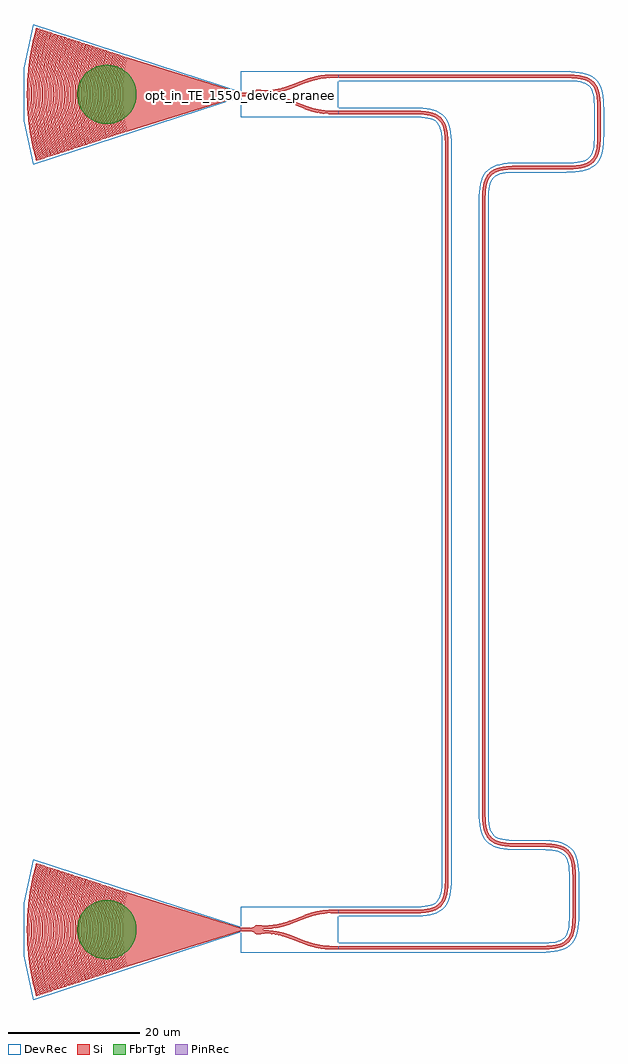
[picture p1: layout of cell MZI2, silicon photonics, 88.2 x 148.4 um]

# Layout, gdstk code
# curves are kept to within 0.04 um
import gdstk
lib = gdstk.Library(unit=1e-6, precision=1e-09)
def R(c, l, rs):  # rectangles x0, y0, x1, y1
    for r in rs: c.add(gdstk.rectangle(r[:2], r[2:], *l))
def P(c, l, *ps):  # polygons
    for p in ps: c.add(gdstk.Polygon(p, *l))
Si = (1, 0)
PinRec = (1, 10)
DevRec = (68, 0)
FbrTgt = (81, 0)

te1550_subgc_neg31_oxide = lib.new_cell('TE1550_SubGC_neg31_oxide')
P(te1550_subgc_neg31_oxide, Si, [(-17.556,-5.704),(-17.743,-4.914),(-17.881,-4.233),(-18.016,-3.437),(-18.095,-2.866),(-18.165,-2.237),(-18.222,-1.549),(-18.256,-0.918),(-18.274,-0.115),(-18.264,0.689),(-18.233,1.377),(-18.176,2.122),(-18.095,2.866),(-18.016,3.437),(-17.881,4.233),(-17.743,4.914),(-17.556,5.704),(-17.481,5.68),(-17.643,5.006),(-17.784,4.329),(-17.922,3.536),(-18.032,2.74),(-18.104,2.056),(-18.148,1.486),(-18.186,0.686),(-18.196,0.114),(-18.189,-0.572),(-18.165,-1.2),(-18.123,-1.828),(-18.058,-2.512),(-17.948,-3.365),(-17.826,-4.102),(-17.668,-4.893),(-17.481,-5.68)],
  [(-17.906,-5.818),(-18.207,-4.492),(-18.452,-2.982),(-18.601,-1.405),(-18.643,-0.117),(-18.601,1.405),(-18.452,2.982),(-18.207,4.492),(-17.906,5.818),(-17.659,5.738),(-17.932,4.544),(-18.188,2.998),(-18.338,1.443),(-18.383,0.116),(-18.338,-1.443),(-18.188,-2.998),(-17.932,-4.544),(-17.659,-5.738)],
  [(-18.084,-5.876),(-18.24,-5.237),(-18.4,-4.479),(-18.525,-3.776),(-18.629,-3.071),(-18.717,-2.305),(-18.772,-1.656),(-18.811,-0.946),(-18.83,-0.118),(-18.823,0.592),(-18.791,1.36),(-18.739,2.069),(-18.644,2.953),(-18.544,3.658),(-18.4,4.479),(-18.24,5.237),(-18.084,5.876),(-18.01,5.852),(-18.204,5.041),(-18.368,4.227),(-18.503,3.409),(-18.609,2.589),(-18.713,1.354),(-18.745,0.589),(-18.752,0.118),(-18.745,-0.589),(-18.713,-1.354),(-18.609,-2.589),(-18.503,-3.409),(-18.368,-4.227),(-18.204,-5.041),(-18.01,-5.852)],
  [(-18.435,-5.99),(-18.77,-4.506),(-19.001,-3.071),(-19.135,-1.748),(-19.199,-0.121),(-19.159,1.387),(-19.001,3.071),(-18.77,4.506),(-18.435,5.99),(-18.188,5.91),(-18.517,4.445),(-18.744,3.029),(-18.896,1.427),(-18.939,0.119),(-18.896,-1.427),(-18.759,-2.911),(-18.517,-4.445),(-18.188,-5.91)],
  [(-18.613,-6.048),(-18.815,-5.211),(-18.963,-4.49),(-19.099,-3.705),(-19.201,-2.979),(-19.269,-2.373),(-19.338,-1.522),(-19.369,-0.913),(-19.386,-0.122),(-19.377,0.67),(-19.349,1.339),(-19.286,2.191),(-19.201,2.979),(-19.099,3.705),(-18.963,4.49),(-18.815,5.211),(-18.613,6.048),(-18.539,6.024),(-18.713,5.309),(-18.876,4.532),(-19.013,3.751),(-19.131,2.907),(-19.203,2.242),(-19.264,1.455),(-19.291,0.91),(-19.308,0.121),(-19.299,-0.667),(-19.271,-1.334),(-19.239,-1.819),(-19.166,-2.605),(-19.076,-3.329),(-18.91,-4.352),(-18.753,-5.13),(-18.539,-6.024)],
  [(-18.964,-6.162),(-19.262,-4.881),(-19.533,-3.283),(-19.689,-1.799),(-19.755,-0.124),(-19.717,1.365),(-19.573,2.974),(-19.334,4.513),(-18.964,6.162),(-18.717,6.081),(-19.046,4.636),(-19.301,3.057),(-19.43,1.775),(-19.495,0.122),(-19.454,-1.408),(-19.301,-3.057),(-19.046,-4.636),(-18.717,-6.081)],
  [(-19.142,-6.22),(-19.337,-5.421),(-19.48,-4.742),(-19.625,-3.936),(-19.726,-3.251),(-19.808,-2.566),(-19.884,-1.691),(-19.924,-0.94),(-19.942,-0.125),(-19.934,0.626),(-19.9,1.44),(-19.833,2.316),(-19.758,3.002),(-19.635,3.874),(-19.516,4.556),(-19.337,5.421),(-19.142,6.22),(-19.068,6.195),(-19.289,5.277),(-19.44,4.538),(-19.587,3.673),(-19.696,2.866),(-19.772,2.12),(-19.822,1.435),(-19.853,0.749),(-19.864,0.125),(-19.853,-0.749),(-19.822,-1.435),(-19.772,-2.12),(-19.696,-2.866),(-19.587,-3.673),(-19.44,-4.538),(-19.289,-5.277),(-19.068,-6.195)],
  [(-19.493,-6.334),(-19.839,-4.829),(-20.107,-3.185),(-20.256,-1.658),(-20.311,-0.128),(-20.268,1.467),(-20.107,3.185),(-19.839,4.829),(-19.493,6.334),(-19.246,6.253),(-19.574,4.829),(-19.842,3.207),(-19.997,1.637),(-20.051,0.126),(-20.005,-1.511),(-19.866,-3.019),(-19.622,-4.581),(-19.246,-6.253)],
  [(-19.671,-6.391),(-19.843,-5.697),(-20.008,-4.937),(-20.149,-4.173),(-20.283,-3.278),(-20.379,-2.444),(-20.438,-1.738),(-20.482,-0.901),(-20.498,-0.129),(-20.482,0.901),(-20.438,1.738),(-20.379,2.444),(-20.283,3.278),(-20.149,4.173),(-20.008,4.937),(-19.843,5.697),(-19.671,6.391),(-19.597,6.367),(-19.797,5.55),(-20.005,4.538),(-20.153,3.648),(-20.246,2.946),(-20.325,2.179),(-20.373,1.539),(-20.404,0.898),(-20.42,0.128),(-20.412,-0.641),(-20.384,-1.347),(-20.336,-2.051),(-20.261,-2.819),(-20.153,-3.648),(-20.017,-4.474),(-19.825,-5.424),(-19.597,-6.367)],
  [(-20.022,-6.505),(-20.392,-4.896),(-20.656,-3.272),(-20.81,-1.704),(-20.867,-0.131),(-20.81,1.704),(-20.656,3.272),(-20.392,4.896),(-20.022,6.505),(-19.774,6.425),(-20.139,4.835),(-20.382,3.36),(-20.542,1.812),(-20.607,0.129),(-20.567,-1.424),(-20.399,-3.231),(-20.139,-4.835),(-19.774,-6.425)],
  [(-20.199,-6.563),(-20.437,-5.591),(-20.599,-4.809),(-20.726,-4.089),(-20.832,-3.367),(-20.931,-2.511),(-20.992,-1.785),(-21.04,-0.86),(-21.054,-0.132),(-21.044,0.728),(-21.001,1.653),(-20.931,2.511),(-20.849,3.235),(-20.726,4.089),(-20.599,4.809),(-20.437,5.591),(-20.199,6.563),(-20.125,6.539),(-20.347,5.635),(-20.523,4.791),(-20.67,3.943),(-20.804,2.961),(-20.878,2.239),(-20.923,1.647),(-20.962,0.857),(-20.976,0.132),(-20.966,-0.725),(-20.935,-1.449),(-20.878,-2.239),(-20.804,-2.961),(-20.67,-3.943),(-20.523,-4.791),(-20.347,-5.635),(-20.125,-6.539)],
  [(-20.55,-6.677),(-20.906,-5.158),(-21.205,-3.359),(-21.355,-1.883),(-21.423,-0.135),(-21.373,1.615),(-21.205,3.359),(-20.906,5.158),(-20.55,6.677),(-20.303,6.597),(-20.705,4.833),(-20.957,3.252),(-21.105,1.728),(-21.163,0.133),(-21.105,-1.728),(-20.957,-3.252),(-20.705,-4.833),(-20.303,-6.597)],
  [(-20.728,-6.735),(-20.912,-6.004),(-21.101,-5.136),(-21.249,-4.331),(-21.372,-3.523),(-21.483,-2.577),(-21.546,-1.832),(-21.593,-0.95),(-21.61,-0.136),(-21.593,0.95),(-21.555,1.696),(-21.483,2.577),(-21.39,3.388),(-21.249,4.331),(-21.101,5.136),(-20.912,6.004),(-20.728,6.735),(-20.654,6.711),(-20.868,5.85),(-21.025,5.118),(-21.195,4.181),(-21.33,3.241),(-21.412,2.5),(-21.473,1.758),(-21.515,0.947),(-21.532,0.135),(-21.525,-0.609),(-21.497,-1.352),(-21.448,-2.095),(-21.37,-2.904),(-21.237,-3.913),(-21.077,-4.85),(-20.868,-5.85),(-20.654,-6.711)],
  [(-21.079,-6.849),(-21.432,-5.359),(-21.736,-3.583),(-21.923,-1.725),(-21.979,-0.138),(-21.923,1.725),(-21.772,3.308),(-21.473,5.155),(-21.079,6.849),(-20.832,6.769),(-21.207,5.162),(-21.47,3.608),(-21.664,1.705),(-21.719,0.136),(-21.664,-1.705),(-21.515,-3.269),(-21.207,-5.162),(-20.832,-6.769)],
  [(-21.257,-6.907),(-21.494,-5.953),(-21.655,-5.199),(-21.817,-4.304),(-21.93,-3.544),(-22.042,-2.574),(-22.105,-1.81),(-22.146,-1.044),(-22.166,-0.139),(-22.159,0.627),(-22.114,1.67),(-22.042,2.574),(-21.957,3.336),(-21.817,4.304),(-21.655,5.199),(-21.494,5.953),(-21.257,6.907),(-21.183,6.883),(-21.419,5.932),(-21.606,5.044),(-21.773,4.083),(-21.888,3.256),(-21.971,2.495),(-22.036,1.665),(-22.073,0.902),(-22.088,0.139),(-22.081,-0.624),(-22.052,-1.387),(-22.001,-2.149),(-21.905,-3.117),(-21.773,-4.083),(-21.606,-5.044),(-21.419,-5.932),(-21.183,-6.883)],
  [(-21.608,-7.021),(-21.985,-5.425),(-22.294,-3.603),(-22.482,-1.698),(-22.535,-0.142),(-22.482,1.698),(-22.294,3.603),(-21.985,5.425),(-21.608,7.021),(-21.361,6.941),(-21.761,5.224),(-22.028,3.631),(-22.218,1.749),(-22.275,0.14),(-22.227,-1.609),(-22.073,-3.283),(-21.788,-5.086),(-21.361,-6.941)],
  [(-21.786,-7.079),(-21.964,-6.381),(-22.167,-5.469),(-22.302,-4.765),(-22.469,-3.704),(-22.565,-2.923),(-22.649,-1.997),(-22.704,-0.999),(-22.722,-0.143),(-22.713,0.714),(-22.677,1.57),(-22.601,2.567),(-22.488,3.562),(-22.374,4.341),(-22.195,5.329),(-22.03,6.101),(-21.786,7.079),(-21.712,7.055),(-21.922,6.22),(-22.161,5.1),(-22.308,4.256),(-22.447,3.267),(-22.53,2.487),(-22.586,1.778),(-22.626,0.996),(-22.644,0.142),(-22.635,-0.711),(-22.595,-1.635),(-22.53,-2.487),(-22.447,-3.267),(-22.308,-4.256),(-22.161,-5.1),(-21.922,-6.22),(-21.712,-7.055)],
  [(-22.137,-7.193),(-22.54,-5.486),(-22.843,-3.692),(-23.011,-2.102),(-23.091,-0.145),(-23.045,1.595),(-22.862,3.547),(-22.54,5.486),(-22.137,7.193),(-21.89,7.112),(-22.287,5.425),(-22.596,3.579),(-22.777,1.721),(-22.831,0.143),(-22.777,-1.721),(-22.596,-3.579),(-22.287,-5.425),(-21.89,-7.112)],
  [(-22.315,-7.25),(-22.549,-6.321),(-22.736,-5.458),(-22.895,-4.592),(-23.047,-3.576),(-23.139,-2.776),(-23.218,-1.827),(-23.262,-0.951),(-23.278,-0.146),(-23.262,0.951),(-23.218,1.827),(-23.139,2.776),(-23.047,3.576),(-22.895,4.592),(-22.736,5.458),(-22.549,6.321),(-22.315,7.25),(-22.24,7.226),(-22.457,6.372),(-22.646,5.512),(-22.843,4.432),(-22.979,3.492),(-23.076,2.621),(-23.145,1.748),(-23.184,0.947),(-23.2,0.146),(-23.194,-0.583),(-23.158,-1.53),(-23.102,-2.33),(-23.006,-3.274),(-22.899,-4.071),(-22.73,-5.081),(-22.507,-6.157),(-22.24,-7.226)],
  [(-22.666,-7.364),(-23.095,-5.545),(-23.392,-3.78),(-23.581,-1.93),(-23.647,-0.149),(-23.586,1.856),(-23.421,3.559),(-23.095,5.545),(-22.666,7.364),(-22.418,7.284),(-22.842,5.484),(-23.145,3.666),(-23.311,2.056),(-23.387,0.147),(-23.336,-1.689),(-23.145,-3.666),(-22.842,-5.484),(-22.418,-7.284)],
  [(-22.843,-7.422),(-23.067,-6.545),(-23.262,-5.662),(-23.441,-4.701),(-23.556,-3.959),(-23.691,-2.842),(-23.762,-2.02),(-23.815,-1.048),(-23.834,-0.15),(-23.82,0.898),(-23.782,1.721),(-23.713,2.618),(-23.606,3.587),(-23.441,4.701),(-23.277,5.588),(-23.067,6.545),(-22.843,7.422),(-22.769,7.398),(-22.992,6.523),(-23.201,5.57),(-23.389,4.538),(-23.538,3.501),(-23.642,2.535),(-23.704,1.716),(-23.742,0.895),(-23.756,0.149),(-23.742,-0.895),(-23.704,-1.716),(-23.642,-2.535),(-23.565,-3.278),(-23.401,-4.464),(-23.23,-5.423),(-22.992,-6.523),(-22.769,-7.398)],
  [(-23.194,-7.536),(-23.605,-5.824),(-23.951,-3.793),(-24.135,-1.976),(-24.203,-0.152),(-24.15,1.748),(-23.961,3.718),(-23.605,5.824),(-23.194,7.536),(-22.947,7.456),(-23.368,5.688),(-23.684,3.827),(-23.876,1.955),(-23.943,0.15),(-23.886,-1.804),(-23.704,-3.678),(-23.383,-5.614),(-22.947,-7.456)],
  [(-23.372,-7.594),(-23.602,-6.696),(-23.802,-5.793),(-23.96,-4.962),(-24.115,-3.975),(-24.219,-3.137),(-24.316,-2.067),(-24.373,-0.996),(-24.39,-0.153),(-24.373,0.996),(-24.316,2.067),(-24.219,3.137),(-24.115,3.975),(-23.96,4.962),(-23.802,5.793),(-23.602,6.696),(-23.372,7.594),(-23.298,7.57),(-23.562,6.525),(-23.801,5.399),(-23.971,4.417),(-24.088,3.583),(-24.188,2.67),(-24.249,1.908),(-24.295,0.993),(-24.312,0.153),(-24.3,-0.84),(-24.263,-1.68),(-24.195,-2.594),(-24.088,-3.583),(-23.971,-4.417),(-23.801,-5.399),(-23.562,-6.525),(-23.298,-7.57)],
  [(-23.723,-7.708),(-24.145,-5.957),(-24.479,-4.035),(-24.678,-2.176),(-24.759,-0.156),(-24.709,1.71),(-24.5,3.88),(-24.145,5.957),(-23.723,7.708),(-23.476,7.628),(-23.908,5.819),(-24.233,3.916),(-24.43,2),(-24.499,0.154),(-24.43,-2),(-24.233,-3.916),(-23.908,-5.819),(-23.476,-7.628)],
  [(-23.901,-7.766),(-24.137,-6.848),(-24.358,-5.848),(-24.518,-4.997),(-24.674,-3.987),(-24.779,-3.13),(-24.87,-2.115),(-24.916,-1.332),(-24.946,-0.157),(-24.931,0.94),(-24.891,1.802),(-24.803,2.896),(-24.695,3.832),(-24.531,4.92),(-24.358,5.848),(-24.137,6.848),(-23.901,7.766),(-23.827,7.742),(-24.098,6.674),(-24.313,5.676),(-24.493,4.672),(-24.638,3.665),(-24.733,2.809),(-24.803,1.952),(-24.848,1.094),(-24.868,0.156),(-24.858,-0.781),(-24.818,-1.718),(-24.733,-2.809),(-24.638,-3.665),(-24.493,-4.672),(-24.313,-5.676),(-24.098,-6.674),(-23.827,-7.742)],
  [(-24.252,-7.88),(-24.717,-5.934),(-25.049,-3.967),(-25.232,-2.225),(-25.315,-0.159),(-25.259,1.828),(-25.07,3.809),(-24.717,5.934),(-24.252,7.88),(-24.005,7.8),(-24.464,5.873),(-24.782,4.005),(-24.973,2.202),(-25.055,0.157),(-25.009,-1.652),(-24.803,-3.848),(-24.464,-5.873),(-24.005,-7.8)],
  [(-24.43,-7.938),(-24.709,-6.843),(-24.866,-6.135),(-25.049,-5.187),(-25.234,-3.997),(-25.339,-3.12),(-25.424,-2.162),(-25.478,-1.202),(-25.502,-0.16),(-25.489,0.881),(-25.435,2.002),(-25.339,3.12),(-25.234,3.997),(-25.049,5.187),(-24.866,6.135),(-24.709,6.843),(-24.43,7.938),(-24.356,7.914),(-24.634,6.822),(-24.839,5.881),(-25,5.014),(-25.178,3.826),(-25.278,2.952),(-25.352,2.075),(-25.397,1.278),(-25.424,0.16),(-25.409,-0.958),(-25.377,-1.677),(-25.293,-2.792),(-25.198,-3.667),(-25.052,-4.697),(-24.839,-5.881),(-24.634,-6.822),(-24.356,-7.914)],
  [(-24.781,-8.052),(-25.241,-6.144),(-25.576,-4.216),(-25.803,-2.031),(-25.871,-0.163),(-25.803,2.031),(-25.609,3.974),(-25.274,5.984),(-24.781,8.052),(-24.533,7.971),(-24.972,6.161),(-25.308,4.253),(-25.544,2.01),(-25.611,0.161),(-25.544,-2.01),(-25.352,-3.934),(-25.021,-5.924),(-24.533,-7.971)],
  [(-24.959,-8.11),(-25.187,-7.232),(-25.423,-6.188),(-25.635,-5.057),(-25.772,-4.165),(-25.891,-3.188),(-25.984,-2.127),(-26.03,-1.31),(-26.058,-0.164),(-26.045,0.9),(-25.995,1.964),(-25.891,3.188),(-25.794,4.002),(-25.635,5.057),(-25.423,6.188),(-25.187,7.232),(-24.959,8.11),(-24.884,8.085),(-25.15,7.051),(-25.38,6.009),(-25.572,4.961),(-25.738,3.828),(-25.846,2.853),(-25.917,1.958),(-25.967,0.898),(-25.98,0.163),(-25.967,-0.898),(-25.932,-1.713),(-25.868,-2.609),(-25.768,-3.585),(-25.624,-4.638),(-25.412,-5.848),(-25.207,-6.811),(-24.884,-8.085)],
  [(-25.31,-8.224),(-25.815,-6.112),(-26.136,-4.224),(-26.357,-2.074),(-26.427,-0.166),(-26.368,1.909),(-26.18,3.894),(-25.815,6.112),(-25.31,8.224),(-25.062,8.143),(-25.512,6.295),(-25.868,4.264),(-26.098,2.054),(-26.167,0.164),(-26.123,-1.644),(-25.923,-3.856),(-25.562,-6.052),(-25.062,-8.143)],
  [(-25.487,-8.281),(-25.761,-7.222),(-25.946,-6.402),(-26.152,-5.33),(-26.321,-4.254),(-26.451,-3.173),(-26.532,-2.256),(-26.589,-1.254),(-26.614,-0.167),(-26.598,1.003),(-26.538,2.172),(-26.451,3.173),(-26.321,4.254),(-26.152,5.33),(-25.946,6.402),(-25.761,7.222),(-25.487,8.281),(-25.413,8.257),(-25.686,7.201),(-25.921,6.137),(-26.118,5.067),(-26.288,3.91),(-26.374,3.164),(-26.466,2.083),(-26.511,1.25),(-26.536,0.167),(-26.525,-0.834),(-26.482,-1.833),(-26.406,-2.831),(-26.288,-3.91),(-26.118,-5.067),(-25.921,-6.137),(-25.686,-7.201),(-25.413,-8.257)],
  [(-25.838,-8.395),(-26.339,-6.323),(-26.685,-4.312),(-26.887,-2.456),(-26.983,-0.17),(-26.917,2.033),(-26.708,4.144),(-26.356,6.24),(-25.838,8.395),(-25.591,8.315),(-26.086,6.263),(-26.44,4.188),(-26.658,2.014),(-26.723,0.168),(-26.658,-2.014),(-26.44,-4.188),(-26.086,-6.263),(-25.591,-8.315)],
  [(-26.016,-8.453),(-26.256,-7.539),(-26.503,-6.451),(-26.697,-5.441),(-26.858,-4.427),(-26.976,-3.494),(-27.086,-2.303),(-27.144,-1.28),(-27.17,-0.085),(-27.156,0.939),(-27.098,2.133),(-27.012,3.154),(-26.893,4.173),(-26.726,5.272),(-26.538,6.283),(-26.256,7.539),(-26.016,8.453),(-25.942,8.429),(-26.261,7.184),(-26.479,6.181),(-26.664,5.173),(-26.838,3.992),(-26.943,3.06),(-27.026,2.042),(-27.078,0.936),(-27.092,0.085),(-27.078,-0.936),(-27.026,-2.042),(-26.943,-3.06),(-26.838,-3.992),(-26.664,-5.173),(-26.479,-6.181),(-26.261,-7.184),(-25.942,-8.429)],
  [(-26.367,-8.567),(-26.897,-6.368),(-27.246,-4.315),(-27.466,-2.162),(-27.539,-0.087),(-27.466,2.162),(-27.246,4.315),(-26.897,6.368),(-26.367,8.567),(-26.12,8.487),(-26.644,6.308),(-26.989,4.275),(-27.218,1.97),(-27.279,0.086),(-27.218,-1.97),(-26.989,-4.275),(-26.644,-6.308),(-26.12,-8.487)],
  [(-26.545,-8.625),(-26.832,-7.522),(-27.079,-6.411),(-27.286,-5.294),(-27.442,-4.258),(-27.573,-3.132),(-27.658,-2.089),(-27.712,-0.958),(-27.726,-0.087),(-27.712,0.958),(-27.658,2.089),(-27.573,3.132),(-27.442,4.258),(-27.286,5.294),(-27.079,6.411),(-26.832,7.522),(-26.545,8.625),(-26.471,8.601),(-26.777,7.416),(-27.003,6.393),(-27.195,5.365),(-27.365,4.246),(-27.487,3.209),(-27.586,1.997),(-27.634,0.955),(-27.648,0.087),(-27.634,-0.955),(-27.586,-1.997),(-27.52,-2.863),(-27.42,-3.815),(-27.265,-4.935),(-27.071,-6.051),(-26.817,-7.246),(-26.63,-8.01),(-26.471,-8.601)],
  [(-26.896,-8.739),(-27.402,-6.67),(-27.783,-4.49),(-28.014,-2.293),(-28.095,-0.088),(-28.026,2.117),(-27.807,4.315),(-27.438,6.496),(-26.896,8.739),(-26.649,8.659),(-27.185,6.436),(-27.55,4.275),(-27.761,2.185),(-27.835,0.087),(-27.761,-2.185),(-27.55,-4.275),(-27.185,-6.436),(-26.649,-8.659)],
  [(-27.074,-8.797),(-27.346,-7.759),(-27.602,-6.627),(-27.802,-5.576),(-27.955,-4.608),(-28.098,-3.46),(-28.194,-2.397),(-28.255,-1.332),(-28.282,-0.089),(-28.265,1.066),(-28.218,2.042),(-28.134,3.106),(-28.015,4.167),(-27.832,5.4),(-27.62,6.539),(-27.346,7.759),(-27.074,8.797),(-27,8.773),(-27.292,7.651),(-27.544,6.521),(-27.77,5.297),(-27.949,4.067),(-28.048,3.186),(-28.129,2.214),(-28.184,1.152),(-28.204,0.089),(-28.187,-1.063),(-28.146,-1.948),(-28.073,-2.921),(-27.949,-4.067),(-27.77,-5.297),(-27.544,-6.521),(-27.292,-7.651),(-27,-8.773)],
  [(-27.425,-8.911),(-27.979,-6.624),(-28.344,-4.489),(-28.568,-2.339),(-28.651,-0.09),(-28.568,2.339),(-28.344,4.489),(-27.979,6.624),(-27.425,8.911),(-27.177,8.83),(-27.708,6.652),(-28.075,4.537),(-28.309,2.317),(-28.391,0.089),(-28.309,-2.317),(-28.075,-4.537),(-27.708,-6.652),(-27.177,-8.83)],
  [(-27.603,-8.969),(-27.881,-7.91),(-28.124,-6.845),(-28.347,-5.685),(-28.529,-4.518),(-28.678,-3.257),(-28.761,-2.264),(-28.814,-1.268),(-28.838,-0.091),(-28.826,0.906),(-28.761,2.264),(-28.678,3.257),(-28.529,4.518),(-28.347,5.685),(-28.124,6.845),(-27.881,7.91),(-27.603,8.969),(-27.528,8.944),(-27.806,7.889),(-28.085,6.649),(-28.316,5.402),(-28.476,4.327),(-28.582,3.428),(-28.677,2.348),(-28.736,1.265),(-28.76,0.09),(-28.748,-0.903),(-28.695,-2.077),(-28.609,-3.158),(-28.499,-4.147),(-28.331,-5.312),(-28.121,-6.472),(-27.87,-7.624),(-27.528,-8.944)],
  [(-27.953,-9.083),(-28.52,-6.752),(-28.893,-4.576),(-29.135,-2.201),(-29.207,-0.092),(-29.135,2.201),(-28.918,4.394),(-28.52,6.752),(-27.953,9.083),(-27.706,9.002),(-28.23,6.871),(-28.624,4.626),(-28.863,2.363),(-28.947,0.091),(-28.887,-2),(-28.649,-4.445),(-28.23,-6.871),(-27.706,-9.002)],
  [(-28.131,-9.14),(-28.416,-8.062),(-28.645,-7.068),(-28.86,-5.977),(-29.078,-4.605),(-29.221,-3.412),(-29.315,-2.307),(-29.373,-1.2),(-29.394,-0.092),(-29.373,1.2),(-29.315,2.307),(-29.221,3.412),(-29.078,4.605),(-28.86,5.977),(-28.645,7.068),(-28.416,8.062),(-28.131,9.14),(-28.057,9.116),(-28.363,7.951),(-28.663,6.596),(-28.892,5.323),(-29.061,4.136),(-29.179,3.036),(-29.255,2.025),(-29.301,1.013),(-29.316,0.092),(-29.301,-1.013),(-29.255,-2.025),(-29.179,-3.036),(-29.061,-4.136),(-28.892,-5.323),(-28.663,-6.596),(-28.363,-7.951),(-28.057,-9.116)],
  [(-28.482,-9.254),(-29.003,-7.156),(-29.416,-4.849),(-29.683,-2.336),(-29.763,-0.094),(-29.683,2.336),(-29.455,4.57),(-29.042,6.972),(-28.482,9.254),(-28.235,9.174),(-28.77,7.003),(-29.173,4.714),(-29.424,2.316),(-29.503,0.093),(-29.424,-2.316),(-29.173,-4.714),(-28.77,-7.003),(-28.235,-9.174)],
  [(-28.66,-9.312),(-28.928,-8.306),(-29.224,-7.016),(-29.421,-5.996),(-29.601,-4.879),(-29.733,-3.851),(-29.863,-2.445),(-29.925,-1.317),(-29.95,-0.094),(-29.937,0.941),(-29.882,2.163),(-29.792,3.289),(-29.64,4.599),(-29.437,5.904),(-29.224,7.016),(-28.928,8.306),(-28.66,9.312),(-28.586,9.288),(-28.898,8.101),(-29.148,6.998),(-29.393,5.703),(-29.563,4.587),(-29.696,3.467),(-29.798,2.251),(-29.847,1.314),(-29.872,0.094),(-29.862,-0.845),(-29.798,-2.251),(-29.696,-3.467),(-29.563,-4.587),(-29.393,-5.703),(-29.148,-6.998),(-28.898,-8.101),(-28.586,-9.288)],
  [(-29.011,-9.426),(-29.563,-7.196),(-29.965,-4.939),(-30.237,-2.38),(-30.319,-0.095),(-30.25,2.19),(-30.017,4.561),(-29.602,7.008),(-29.011,9.426),(-28.764,9.346),(-29.33,7.041),(-29.735,4.709),(-29.978,2.359),(-30.059,0.094),(-29.978,-2.359),(-29.735,-4.709),(-29.33,-7.041),(-28.764,-9.346)],
  [(-29.189,-9.484),(-29.554,-8.085),(-29.784,-7.052),(-29.999,-5.918),(-30.163,-4.874),(-30.295,-3.827),(-30.417,-2.49),(-30.484,-1.246),(-30.506,-0.096),(-30.484,1.246),(-30.417,2.49),(-30.295,3.827),(-30.163,4.874),(-29.999,5.918),(-29.784,7.052),(-29.554,8.085),(-29.189,9.484),(-29.115,9.46),(-29.456,8.158),(-29.708,7.034),(-29.97,5.62),(-30.125,4.577),(-30.248,3.532),(-30.346,2.388),(-30.406,1.242),(-30.428,0.096),(-30.406,-1.242),(-30.346,-2.388),(-30.248,-3.532),(-30.125,-4.577),(-29.97,-5.62),(-29.708,-7.034),(-29.456,-8.158),(-29.115,-9.46)],
  [(-29.54,-9.598),(-30.143,-7.137),(-30.554,-4.741),(-30.798,-2.327),(-30.875,-0.097),(-30.798,2.327),(-30.554,4.741),(-30.143,7.137),(-29.54,9.598),(-29.293,9.518),(-29.89,7.077),(-30.284,4.796),(-30.539,2.307),(-30.615,0.096),(-30.539,-2.307),(-30.284,-4.796),(-29.89,-7.077),(-29.293,-9.518)],
  [(-29.718,-9.656),(-29.997,-8.613),(-30.285,-7.371),(-30.493,-6.315),(-30.712,-4.963),(-30.857,-3.8),(-30.964,-2.633),(-31.036,-1.366),(-31.062,-0.098),(-31.046,1.073),(-30.991,2.243),(-30.897,3.411),(-30.752,4.673),(-30.561,5.929),(-30.345,7.084),(-30.044,8.422),(-29.718,9.656),(-29.643,9.632),(-29.969,8.401),(-30.269,7.066),(-30.501,5.818),(-30.7,4.468),(-30.829,3.306),(-30.907,2.335),(-30.965,1.168),(-30.984,0.097),(-30.965,-1.168),(-30.907,-2.335),(-30.829,-3.306),(-30.7,-4.468),(-30.501,-5.818),(-30.269,-7.066),(-29.969,-8.401),(-29.643,-9.632)],
  [(-30.069,-9.77),(-30.664,-7.362),(-31.09,-4.924),(-31.346,-2.467),(-31.431,-0.099),(-31.346,2.467),(-31.09,4.924),(-30.664,7.362),(-30.069,9.77),(-29.821,9.69),(-30.411,7.301),(-30.833,4.883),(-31.093,2.349),(-31.171,0.098),(-31.093,-2.349),(-30.833,-4.883),(-30.411,-7.301),(-29.821,-9.69)],
  [(-30.246,-9.828),(-30.603,-8.475),(-30.866,-7.308),(-31.107,-6.035),(-31.288,-4.855),(-31.43,-3.67),(-31.539,-2.382),(-31.595,-1.291),(-31.618,-0.099),(-31.595,1.291),(-31.539,2.382),(-31.43,3.67),(-31.288,4.855),(-31.107,6.035),(-30.866,7.308),(-30.603,8.475),(-30.246,9.828),(-30.172,9.804),(-30.528,8.455),(-30.77,7.387),(-30.907,6.705),(-31.047,5.922),(-31.211,4.843),(-31.342,3.759),(-31.461,2.377),(-31.517,1.288),(-31.54,0.099),(-31.529,-0.892),(-31.474,-2.179),(-31.391,-3.266),(-31.25,-4.548),(-31.047,-5.922),(-30.83,-7.095),(-30.528,-8.455),(-30.172,-9.804)],
  [(-30.597,-9.942),(-31.225,-7.393),(-31.625,-5.111),(-31.893,-2.611),(-31.987,-0.1),(-31.907,2.41),(-31.653,4.911),(-31.225,7.393),(-30.597,9.942),(-30.35,9.861),(-30.931,7.529),(-31.396,4.872),(-31.641,2.49),(-31.727,0.1),(-31.641,-2.49),(-31.396,-4.872),(-30.931,-7.529),(-30.35,-9.861)],
  [(-30.775,-9.999),(-31.09,-8.821),(-31.344,-7.734),(-31.564,-6.64),(-31.795,-5.241),(-31.95,-4.036),(-32.072,-2.727),(-32.129,-1.819),(-32.154,-1.213),(-32.174,-0.101),(-32.154,1.213),(-32.1,2.323),(-32.012,3.432),(-31.851,4.84),(-31.686,5.941),(-31.428,7.337),(-31.139,8.624),(-30.775,9.999),(-30.701,9.975),(-31.015,8.8),(-31.18,8.11),(-31.352,7.319),(-31.593,6.027),(-31.774,4.828),(-31.915,3.625),(-32.009,2.519),(-32.069,1.411),(-32.096,0.101),(-32.076,-1.21),(-32.009,-2.519),(-31.915,-3.625),(-31.774,-4.828),(-31.593,-6.027),(-31.352,-7.319),(-31.18,-8.11),(-31.015,-8.8),(-30.701,-9.975)],
  [(-31.126,-10.114),(-31.724,-7.722),(-32.174,-5.199),(-32.447,-2.656),(-32.543,-0.102),(-32.519,1.329),(-32.447,2.656),(-32.174,5.199),(-31.724,7.722),(-31.126,10.114),(-30.879,10.033),(-31.471,7.66),(-31.917,5.158),(-32.188,2.635),(-32.283,0.101),(-32.202,-2.433),(-31.959,-4.856),(-31.534,-7.361),(-31.244,-8.653),(-30.879,-10.033)],
  [(-17.378,-5.646),(-17.678,-4.303),(-17.903,-2.893),(-18.043,-1.42),(-18.087,-0.114),(-18.05,1.306),(-17.924,2.724),(-17.678,4.303),(-17.378,5.646),(0,0.25),(0,-0.25)])
te1550_subgc_neg31_oxide.add(gdstk.Label('Ref: Yun Wang, Optics Express, 08/2014', (-33,0), layer=10, texttype=0))
te1550_subgc_neg31_oxide.add(gdstk.Label('http://dx.doi.org/10.1364/OE.22.020652', (-33,-2), layer=10, texttype=0))
te1550_subgc_neg31_oxide.add(gdstk.Label('TE 1550 -31 deg', (-33,2), layer=10, texttype=0))

ebeam_gc_te1550 = lib.new_cell('ebeam_gc_te1550')
R(ebeam_gc_te1550, Si, [(-0.001,-0.001,0.001,0.001)])
P(ebeam_gc_te1550, DevRec, [(-31.6,-10.7),(-33,-4),(-33,4),(-31.6,10.7),(0,0.4),(0,-0.4)])
P(ebeam_gc_te1550, FbrTgt, [(-20.621,-4.5),(-21.495,-4.37),(-22.326,-4.073),(-23.084,-3.619),(-23.738,-3.026),(-24.264,-2.316),(-24.642,-1.518),(-24.857,-0.661),(-24.9,0.221),(-24.77,1.095),(-24.473,1.926),(-24.019,2.684),(-23.426,3.338),(-22.716,3.864),(-21.918,4.242),(-21.061,4.457),(-20.179,4.5),(-19.305,4.37),(-18.474,4.073),(-17.716,3.619),(-17.062,3.026),(-16.536,2.316),(-16.158,1.518),(-15.943,0.661),(-15.9,-0.221),(-16.03,-1.095),(-16.327,-1.926),(-16.781,-2.684),(-17.374,-3.338),(-18.084,-3.864),(-18.882,-4.242),(-19.739,-4.457)])
ebeam_gc_te1550.add(gdstk.FlexPath([(-0.05,0),(0.05,0)], 0.5, ends="flush", simple_path=True, layer=1, datatype=10))  # PinRec
ebeam_gc_te1550.add(gdstk.Reference(te1550_subgc_neg31_oxide, (0,0)))
ebeam_gc_te1550.add(gdstk.Label('opt1', (0,0), layer=1, texttype=10))
ebeam_gc_te1550.add(gdstk.Label('Component=ebeam_gc_te1550', (-28,-5), layer=68, texttype=0))
ebeam_gc_te1550.add(gdstk.Label('Lumerical_INTERCONNECT_library=Design kits/ebeam', (-29,-7), layer=68, texttype=0))

ebeam_y_1550 = lib.new_cell('ebeam_y_1550')
R(ebeam_y_1550, Si, [(6.5,-3,7.4,-2.5), (-7.4,-0.25,-6,0.25), (6.5,2.5,7.4,3)])
P(ebeam_y_1550, Si, [(6.458,-3),(6.237,-2.997),(6.237,-2.497),(6.5,-2.5),(6.5,-3)],
  [(5.033,-2.908),(3.59,-2.634),(2.265,-2.21),(2.445,-1.744),(3.731,-2.154),(5.033,-2.404)],
  [(6.233,-2.997),(5.033,-2.908),(5.033,-2.404),(6.237,-2.497)],
  [(2.265,-2.21),(0.055,-1.356),(0.235,-0.89),(2.445,-1.744)],
  [(-0.762,-1.076),(-2.334,-0.724),(-4,-0.6),(-4,-0.1),(-2.381,-0.212),(-0.762,-0.555)],
  [(0.055,-1.356),(-0.762,-1.076),(-0.762,-0.555),(0.235,-0.89)],
  [(6.237,2.497),(6.237,2.997),(6.5,3),(6.5,2.5)],
  [(2.445,1.744),(2.267,2.211),(3.59,2.634),(5.033,2.908),(5.033,2.404),(3.731,2.154)],
  [(5.033,2.404),(5.033,2.908),(6.237,2.997),(6.237,2.497)],
  [(0.235,0.89),(0.055,1.356),(2.265,2.21),(2.445,1.744)],
  [(-4,0.1),(-4,0.6),(-2.334,0.724),(-0.762,1.076),(-0.762,0.555),(-2.381,0.212)],
  [(-0.762,0.555),(-0.762,1.076),(0.055,1.356),(0.235,0.89)],
  [(-5.122,-0.662),(-5.442,-0.374),(-5.808,-0.255),(-6,-0.25),(-6,0.25),(-5.817,0.253),(-5.442,0.374),(-5.122,0.662)],
  [(-4.957,-0.703),(-5.122,-0.662),(-5.122,0.662),(-4.538,0.703),(-4,0.6),(-4,-0.6),(-4.509,-0.701)])
R(ebeam_y_1550, DevRec, [(-7.4,-3.5,7.4,3.5)])
ebeam_y_1550.add(gdstk.FlexPath([(-7.35,0),(-7.45,0)], 0.5, ends="flush", simple_path=True, layer=1, datatype=10))  # PinRec
ebeam_y_1550.add(gdstk.FlexPath([(7.35,2.75),(7.45,2.75)], 0.5, ends="flush", simple_path=True, layer=1, datatype=10))  # PinRec
ebeam_y_1550.add(gdstk.FlexPath([(7.35,-2.75),(7.45,-2.75)], 0.5, ends="flush", simple_path=True, layer=1, datatype=10))  # PinRec
ebeam_y_1550.add(gdstk.Label('Ref: Y Zhang, Opt. Express, 21/1, 2013', (-7.5,-1), layer=10, texttype=0))
ebeam_y_1550.add(gdstk.Label('opt2', (7.4,2.75), layer=1, texttype=10))
ebeam_y_1550.add(gdstk.Label('opt3', (7.4,-2.75), layer=1, texttype=10))
ebeam_y_1550.add(gdstk.Label('opt1', (-7.4,0), layer=1, texttype=10))
ebeam_y_1550.add(gdstk.Label('Component=ebeam_y_1550', (-6,1.5), layer=68, texttype=0))
ebeam_y_1550.add(gdstk.Label('Lumerical_INTERCONNECT_library=Design kits/ebeam', (-6.86,-2.19), layer=68, texttype=0))

waveguide_4 = lib.new_cell('Waveguide$4')
P(waveguide_4, Si, [(-252.35,68.37),(-252.35,68.87),(-240.653,68.872),(-239.484,68.924),(-238.528,69.066),(-237.566,69.411),(-237.202,69.655),(-236.904,69.953),(-236.464,70.756),(-236.191,72.061),(-236.12,73.62),(-236.12,185.12),(-236.233,187.01),(-236.51,188.102),(-236.974,188.867),(-237.377,189.214),(-237.777,189.434),(-238.826,189.733),(-240.653,189.869),(-252.35,189.87),(-252.35,190.37),(-240.649,190.369),(-239.257,190.297),(-238.267,190.126),(-237.573,189.89),(-236.99,189.553),(-236.519,189.104),(-236.16,188.543),(-235.865,187.724),(-235.715,186.911),(-235.63,185.768),(-235.62,73.62),(-235.693,72.007),(-235.827,71.171),(-235.994,70.588),(-236.222,70.077),(-236.518,69.637),(-236.886,69.269),(-237.326,68.973),(-237.837,68.745),(-238.42,68.578),(-239.256,68.444),(-240.432,68.375)])
P(waveguide_4, DevRec, [(-252.35,67.87),(-252.35,69.37),(-240.22,69.381),(-239.125,69.468),(-238.294,69.646),(-237.711,69.906),(-237.494,70.063),(-237.155,70.462),(-236.795,71.427),(-236.662,72.39),(-236.62,73.62),(-236.62,185.12),(-236.718,186.865),(-236.896,187.696),(-237.016,188.016),(-237.313,188.496),(-237.495,188.678),(-237.975,188.975),(-239.126,189.273),(-240.871,189.37),(-252.35,189.37),(-252.35,190.87),(-240.869,190.87),(-239.52,190.824),(-238.361,190.661),(-237.361,190.343),(-236.521,189.818),(-236.173,189.47),(-235.882,189.071),(-235.466,188.148),(-235.232,187.073),(-235.131,185.822),(-235.12,73.62),(-235.166,72.27),(-235.329,71.111),(-235.465,70.593),(-235.881,69.67),(-236.172,69.271),(-236.919,68.632),(-237.36,68.398),(-238.36,68.08),(-239.519,67.917),(-240.857,67.87)])
waveguide_4.add(gdstk.FlexPath([(-252.3,190.12),(-252.4,190.12)], 0.5, ends="flush", simple_path=True, layer=1, datatype=10))  # PinRec
waveguide_4.add(gdstk.FlexPath([(-252.3,68.62),(-252.4,68.62)], 0.5, ends="flush", simple_path=True, layer=1, datatype=10))  # PinRec
waveguide_4.add(gdstk.Label('pin1', (-252.35,190.12), layer=1, texttype=10))
waveguide_4.add(gdstk.Label('pin2', (-252.35,68.62), layer=1, texttype=10))
waveguide_4.add(gdstk.Label('cellName=Waveguide', (-252.35,190.32), layer=68, texttype=0))
waveguide_4.add(gdstk.Label('Lumerical_INTERCONNECT_library=Design kits/EBeam', (-252.35,190.02), layer=68, texttype=0))
waveguide_4.add(gdstk.Label('Component=ebeam_wg_integral_1550', (-252.35,190.22), layer=68, texttype=0))
waveguide_4.add(gdstk.Label('Spice_param:wg_length=151.357u wg_width=0.500u points="[[-252.35,190.12],[-235.87,190.12],[-235.87,68.62],[-252.35,68.62]]" radius=5.0', (-252.35,190.12), layer=68, texttype=0))
waveguide_4.add(gdstk.Label('Length=151.357u', (-252.35,189.92), layer=68, texttype=0))

waveguide = lib.new_cell('Waveguide')
P(waveguide, Si, [(15.235,-66.23),(15.235,-65.73),(47.302,-65.691),(48.575,-65.501),(49.496,-65.132),(49.842,-64.876),(50.126,-64.562),(50.542,-63.721),(50.733,-62.869),(50.836,-61.611),(50.835,-54.738),(50.754,-53.641),(50.616,-52.89),(50.408,-52.276),(50.06,-51.702),(49.677,-51.339),(49.188,-51.056),(48.574,-50.848),(47.823,-50.71),(46.522,-50.624),(41.295,-50.592),(40.214,-50.474),(39.312,-50.245),(38.464,-49.802),(37.835,-49.141),(37.422,-48.263),(37.189,-47.16),(37.095,-45.37),(37.105,48.288),(37.169,49.254),(37.303,50.09),(37.47,50.673),(37.698,51.184),(38.079,51.723),(38.465,52.073),(38.923,52.351),(39.452,52.563),(40.382,52.772),(41.698,52.881),(51.092,52.929),(52.365,53.119),(53.189,53.431),(53.553,53.675),(53.851,53.973),(54.291,54.776),(54.545,55.912),(54.635,57.64),(54.617,62.35),(54.522,63.41),(54.37,64.133),(54.094,64.824),(53.631,65.417),(52.978,65.834),(52.226,66.075),(51.27,66.217),(50.102,66.269),(15.235,66.27),(15.235,66.77),(50.106,66.769),(51.498,66.697),(52.635,66.486),(53.182,66.29),(53.656,66.03),(54.317,65.401),(54.76,64.553),(55.04,63.311),(55.135,61.523),(55.134,57.419),(55.08,56.209),(54.808,54.747),(54.533,54.097),(54.237,53.657),(53.766,53.208),(53.183,52.871),(52.489,52.635),(51.499,52.464),(49.888,52.39),(41.714,52.381),(40.456,52.278),(39.481,52.046),(39.042,51.85),(38.599,51.537),(38.252,51.134),(38.032,50.734),(37.824,50.12),(37.708,49.53),(37.597,47.857),(37.595,-45.37),(37.685,-47.098),(37.898,-48.111),(38.251,-48.863),(38.762,-49.4),(39.48,-49.775),(40.3,-49.982),(41.323,-50.092),(46.532,-50.124),(48.058,-50.238),(48.845,-50.404),(49.517,-50.659),(49.975,-50.937),(50.446,-51.386),(50.805,-51.947),(51.06,-52.619),(51.226,-53.406),(51.327,-54.518),(51.336,-61.627),(51.251,-62.77),(51.061,-63.73),(50.865,-64.277),(50.605,-64.751),(50.272,-65.157),(49.867,-65.489),(49.393,-65.749),(48.846,-65.945),(47.338,-66.189)])
P(waveguide, DevRec, [(15.235,-66.73),(15.235,-65.23),(46.745,-65.219),(47.84,-65.132),(48.991,-64.834),(49.471,-64.537),(49.653,-64.355),(49.95,-63.875),(50.07,-63.555),(50.248,-62.724),(50.335,-61.629),(50.334,-54.72),(50.169,-53.176),(49.949,-52.474),(49.652,-51.994),(49.47,-51.812),(48.99,-51.515),(47.839,-51.217),(46.744,-51.13),(41.643,-51.109),(40.392,-51.008),(39.317,-50.774),(38.394,-50.358),(37.647,-49.719),(37.122,-48.879),(36.94,-48.397),(36.706,-47.322),(36.595,-45.37),(36.606,48.342),(36.805,50.15),(37.123,51.15),(37.648,51.99),(37.996,52.338),(38.836,52.863),(39.836,53.181),(40.995,53.344),(50.535,53.401),(51.63,53.488),(52.461,53.666),(52.781,53.786),(53.261,54.083),(53.443,54.265),(53.74,54.745),(54.038,55.896),(54.135,57.642),(54.124,62.17),(53.959,63.714),(53.739,64.416),(53.442,64.896),(53.26,65.078),(52.78,65.375),(52.078,65.595),(51.115,65.728),(49.885,65.77),(15.235,65.77),(15.235,67.27),(49.885,67.27),(51.837,67.159),(52.912,66.925),(53.835,66.509),(54.582,65.87),(55.107,65.03),(55.289,64.548),(55.523,63.473),(55.635,61.533),(55.589,56.29),(55.426,55.131),(55.29,54.613),(54.874,53.69),(54.583,53.291),(54.235,52.943),(53.395,52.418),(52.913,52.236),(51.838,52.002),(49.898,51.89),(41.696,51.88),(40.601,51.793),(39.77,51.615),(39.45,51.495),(38.97,51.198),(38.788,51.016),(38.491,50.536),(38.193,49.385),(38.095,47.64),(38.095,-45.37),(38.192,-47.114),(38.37,-47.945),(38.63,-48.528),(38.787,-48.745),(39.186,-49.084),(39.769,-49.344),(40.6,-49.522),(41.695,-49.609),(46.796,-49.63),(48.047,-49.731),(49.122,-49.965),(49.604,-50.147),(50.444,-50.672),(50.792,-51.02),(51.083,-51.419),(51.499,-52.342),(51.733,-53.417),(51.834,-54.668),(51.835,-61.681),(51.734,-62.932),(51.5,-64.007),(51.084,-64.93),(50.793,-65.329),(50.046,-65.968),(49.123,-66.384),(48.605,-66.52),(47.446,-66.683),(46.108,-66.73)])
waveguide.add(gdstk.FlexPath([(15.285,66.52),(15.185,66.52)], 0.5, ends="flush", simple_path=True, layer=1, datatype=10))  # PinRec
waveguide.add(gdstk.FlexPath([(15.285,-65.98),(15.185,-65.98)], 0.5, ends="flush", simple_path=True, layer=1, datatype=10))  # PinRec
waveguide.add(gdstk.Label('pin1', (15.235,66.52), layer=1, texttype=10))
waveguide.add(gdstk.Label('pin2', (15.235,-65.98), layer=1, texttype=10))
waveguide.add(gdstk.Label('cellName=Waveguide', (15.235,66.72), layer=68, texttype=0))
waveguide.add(gdstk.Label('Lumerical_INTERCONNECT_library=Design kits/EBeam', (15.235,66.42), layer=68, texttype=0))
waveguide.add(gdstk.Label('Component=ebeam_wg_integral_1550', (15.235,66.62), layer=68, texttype=0))
waveguide.add(gdstk.Label('Spice_param:wg_length=229.990u wg_width=0.500u points="[[15.235,66.52],[54.885,66.52],[54.885,52.64],[37.345,52.64],[37.345,-50.37],[51.095,-50.37],[51.095,-65.98],[15.235,-65.98]]" radius=5.0', (15.235,66.52), layer=68, texttype=0))
waveguide.add(gdstk.Label('Length=229.990u', (15.235,66.32), layer=68, texttype=0))

mzi2 = lib.new_cell('MZI2')
mzi2.add(gdstk.Reference(ebeam_gc_te1550, (0.435,-63.23)))
mzi2.add(gdstk.Reference(ebeam_y_1550, (7.835,63.77)))
mzi2.add(gdstk.Reference(ebeam_y_1550, (7.835,-63.23)))
mzi2.add(gdstk.Reference(ebeam_gc_te1550, (0.435,63.77)))
mzi2.add(gdstk.Reference(waveguide_4, (267.585,-129.1)))
mzi2.add(gdstk.Reference(waveguide, (0,0)))
mzi2.add(gdstk.Label('opt_in_TE_1550_device_praneethkarempudi_MZI2', (0.385,63.59), layer=10, texttype=0))

lib.write_gds('MZI2.gds')
